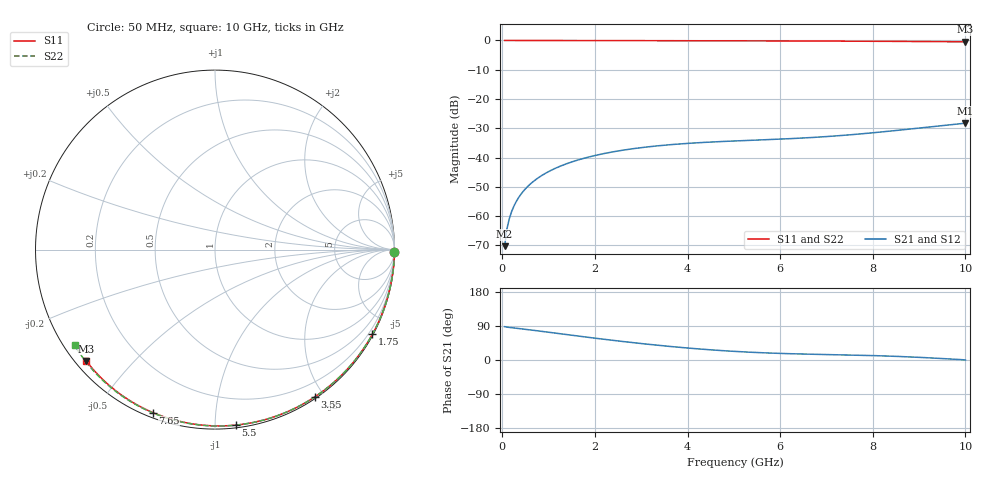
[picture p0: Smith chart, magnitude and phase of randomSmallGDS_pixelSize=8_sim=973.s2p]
! freq	dB(S11)	phase(S11)	dB(S12)	phase(S12)
!  dB(S21)	phase(S21)	dB(S22)	phase(S22)
!S-par simulation data
#  GHz  S  DB  R 50
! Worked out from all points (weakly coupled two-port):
!   200 points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, 50 MHz to 10 GHz, reference 50 ohm
!   highest |S21| = -28.25 dB at 10 GHz (marker M1); lowest = -70.2 dB at 50 MHz (marker M2)
!   lowest |S11| = -0.5 dB at 10 GHz (marker M3), VSWR 37.60, Z = 1.51 - j18.6 ohm
!   |S11| at or under -10 dB: nowhere
!   |S22| runs from -0.5 to 0.0 dB; largest |S21 - S12| = 0
!   S11 on the Smith chart (normalised r, x): 50 MHz: open; 1.75 GHz: 0.04, -3.98; 3.55 GHz: 0.02, -1.89; 5.5 GHz: 0.02, -1.12; 7.65 GHz: 0.02, -0.69; 10 GHz: 0.03, -0.37
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0.05  -0.00 -0.8  -70.25 87.9  -70.25 87.9  -0.00 -0.9
0.1  -0.00 -1.6  -64.37 86.8  -64.37 86.8  -0.00 -1.7
0.15  -0.00 -2.5  -60.94 86.1  -60.94 86.1  -0.00 -2.6
0.2  -0.00 -3.3  -58.50 85.4  -58.50 85.4  -0.00 -3.5
0.25  -0.00 -4.1  -56.59 84.8  -56.59 84.8  -0.00 -4.3
0.35  -0.00 -5.7  -53.71 83.4  -53.71 83.4  -0.00 -6.0
0.5  -0.01 -8.2  -50.65 81.1  -50.65 81.1  -0.01 -8.6
0.7  -0.01 -11.4  -47.78 78.0  -47.78 78.0  -0.01 -12.0
1  -0.02 -16.3  -44.78 73.2  -44.78 73.2  -0.02 -17.1
1.35  -0.03 -21.9  -42.32 67.6  -42.32 67.6  -0.03 -23.0
1.75  -0.04 -28.2  -40.29 61.4  -40.29 61.4  -0.04 -29.7
2.5  -0.05 -39.9  -37.73 50.3  -37.73 50.3  -0.05 -42.0
3.4  -0.07 -53.5  -35.92 38.4  -35.92 38.4  -0.08 -56.2
3.55  -0.08 -55.8  -35.70 36.6  -35.70 36.6  -0.08 -58.5
4.3  -0.10 -66.6  -34.86 28.6  -34.86 28.6  -0.10 -69.9
5.05  -0.12 -77.2  -34.30 22.5  -34.30 22.5  -0.12 -80.9
5.5  -0.14 -83.3  -34.01 19.7  -34.01 19.7  -0.14 -87.3
6.7  -0.19 -99.0  -33.13 15.2  -33.13 15.2  -0.20 -103.7
7.65  -0.25 -110.9  -32.03 12.8  -32.03 12.8  -0.26 -116.1
8.35  -0.30 -119.4  -30.99 10.3  -30.99 10.3  -0.32 -125.1
9.2  -0.38 -129.6  -29.59 5.8  -29.59 5.8  -0.39 -135.8
10  -0.46 -139.1  -28.25 0.3  -28.25 0.3  -0.48 -145.8
